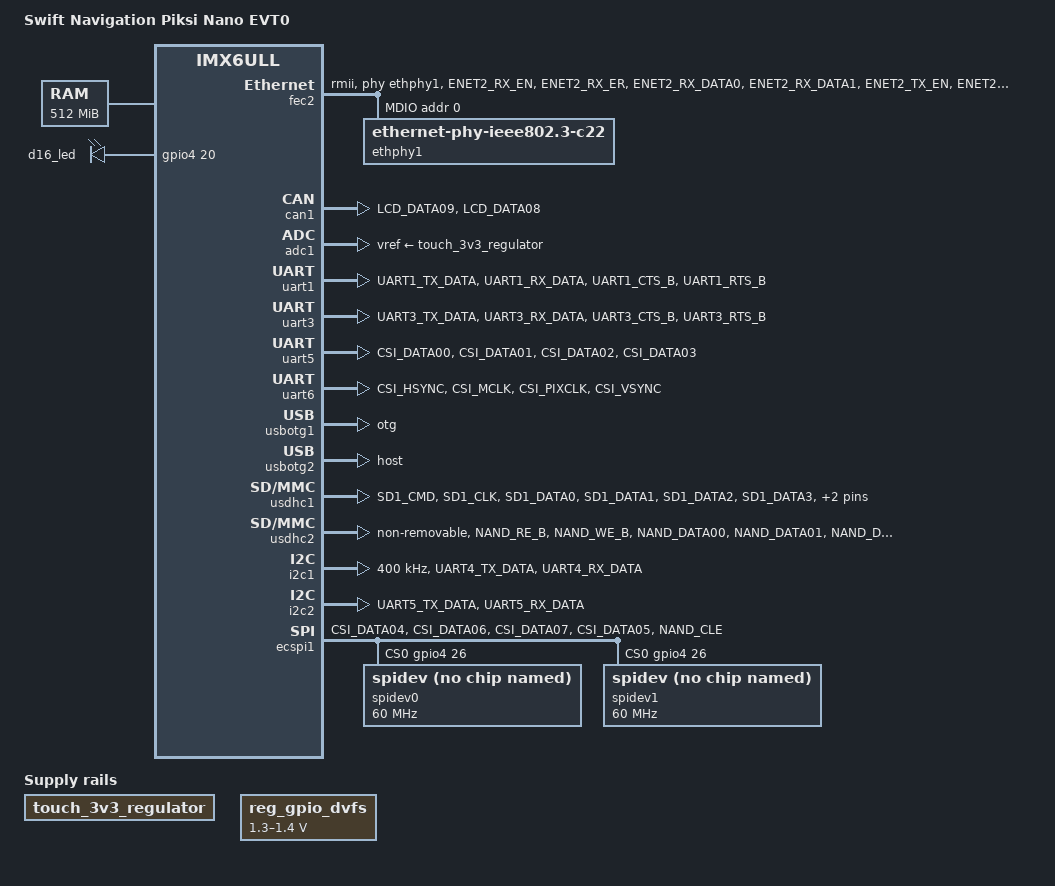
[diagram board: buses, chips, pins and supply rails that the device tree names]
/*
 * Copyright (C) 2018 Swift Navigation
 * Copyright (C) 2015-2016 Variscite Ltd. - http://www.variscite.com
 * Copyright (C) 2015 Freescale Semiconductor, Inc.
 *
 * This program is free software; you can redistribute it and/or modify
 * it under the terms of the GNU General Public License version 2 as
 * published by the Free Software Foundation.
 */

/* SDCARD & eMMC devices enabled NAND & Wi-FI disabled.*/

/dts-v1/;

#include <dt-bindings/input/input.h>
#include "imx6ull.dtsi"

/ {
	model = "Swift Navigation Piksi Nano EVT0";
	compatible = "fsl,imx6ull-var-dart", "fsl,imx6ull";

	chosen {
		stdout-path = &uart1;
	};

	memory {
		reg = <0x80000000 0x20000000>;
	};

	regulators {
		compatible = "simple-bus";
		#address-cells = <1>;
		#size-cells = <0>;

		touch_3v3_regulator: touch_3v3_regulator {
			compatible = "regulator-fixed";
			regulator-name = "touch_3v3_supply";
			regulator-always-on;
			status = "okay";
		};

		reg_gpio_dvfs: regulator-gpio {
			compatible = "regulator-gpio";
			regulator-min-microvolt = <1300000>;
			regulator-max-microvolt = <1400000>;
			regulator-name = "gpio_dvfs";
			regulator-type = "voltage";
			gpios = <&gpio4 13 GPIO_ACTIVE_HIGH>;
			states = <1300000 0x1 1400000 0x0>;
		};
	};

	leds {
		compatible = "gpio-leds";

		d16_led {
			gpios = <&gpio4 20 0>;
			linux,default-trigger = "heartbeat";
		};
	};
};

&cpu0 {
	arm-supply = <&reg_arm>;
	soc-supply = <&reg_soc>;
	dc-supply = <&reg_gpio_dvfs>;
};

&fec2 {
	pinctrl-names = "default";
	pinctrl-0 = <&pinctrl_enet2>;
	phy-mode = "rmii";
	phy-handle = <&ethphy1>;
	phy-reset-gpios=<&gpio3 3 1>;
	phy-reset-duration=<100>;
	phy-reset-on-resume;
	status = "okay";
	mdio {
		#address-cells = <1>;
		#size-cells = <0>;

		ethphy1: ethernet-phy@0 {
			compatible = "ethernet-phy-ieee802.3-c22";
			reg = <0>;
		};
	};
};

&can1 {
	pinctrl-names = "default";
	pinctrl-0 = <&pinctrl_flexcan1>;
	status = "okay";
};

&gpc {
	fsl,cpu_pupscr_sw2iso = <0x2>;
	fsl,cpu_pupscr_sw = <0x1>;
	fsl,cpu_pdnscr_iso2sw = <0x1>;
	fsl,cpu_pdnscr_iso = <0x1>;
	fsl,ldo-bypass = <0>; /* DCDC, ldo-enable */
};

&adc1 {
	vref-supply = <&touch_3v3_regulator>;
	status = "okay";
};

/* Console UART */
&uart1 {
	pinctrl-names = "default";
	pinctrl-0 = <&pinctrl_uart1>;
	fsl,uart-has-rtscts;
	status = "okay";
};

/* ttymxc2 UART */
&uart3 {
	pinctrl-names = "default";
	pinctrl-0 = <&pinctrl_uart3>;
	fsl,uart-has-rtscts;
	status = "okay";
};

/* Goldcrest A */
&uart5 {
	pinctrl-names = "default";
	pinctrl-0 = <&pinctrl_uart5>;
	fsl,uart-has-rtscts;
	status = "okay";
};

/* Goldcrest B */
&uart6 {
	pinctrl-names = "default";
	pinctrl-0 = <&pinctrl_uart6>;
	fsl,uart-has-rtscts;
	status = "okay";
};

&wdog1 {
	pinctrl-names = "default";
	pinctrl-0 = <&pinctrl_wdog>;
	fsl,ext-reset-output;
};

&usbotg1 {
	dr_mode = "otg";
	disable-over-current;
	status = "okay";
};

&usbotg2 {
	dr_mode = "host";
	disable-over-current;
	status = "okay";
};

&usdhc1 {
	pinctrl-names = "default", "state_100mhz", "state_200mhz";
	pinctrl-0 = <&pinctrl_usdhc1>;
	pinctrl-1 = <&pinctrl_usdhc1_100mhz>;
	pinctrl-2 = <&pinctrl_usdhc1_200mhz>;
	no-1-8-v;
	keep-power-in-suspend;
	enable-sdio-wakeup;
	cd-gpios = <&gpio5 3 GPIO_ACTIVE_LOW>;
	status = "okay";
};

&usdhc2 {
	pinctrl-names = "default";
	pinctrl-0 = <&pinctrl_usdhc2>;
	no-1-8-v;
	non-removable;
	keep-power-in-suspend;
	enable-sdio-wakeup;
	status = "okay";
};

&i2c1 {
	clock-frequency = <400000>;
	pinctrl-names = "default";
	pinctrl-0 = <&pinctrl_i2c1>;
	status = "okay";
};

&i2c2 {
	clock_frequency = <100000>;
	pinctrl-names = "default";
	pinctrl-0 = <&pinctrl_i2c2>;
	status = "okay";
};

&iomuxc {
	pinctrl-names = "default";
	pinctrl-0 = <&pinctrl_hog_1>;
	imx6ul-evk {
		pinctrl_hog_1: hoggrp-1 {
			fsl,pins = <
				MX6UL_PAD_GPIO1_IO07__ENET2_MDC		0x1b0b0
				MX6UL_PAD_GPIO1_IO06__ENET2_MDIO	0x1b0b0
			>;
		};

		pinctrl_enet1: enet1grp {
			fsl,pins = <
				MX6UL_PAD_ENET1_RX_EN__ENET1_RX_EN	0x1b0b0
				MX6UL_PAD_ENET1_RX_ER__ENET1_RX_ER	0x1b0b0
				MX6UL_PAD_ENET1_RX_DATA0__ENET1_RDATA00	0x1b0b0
				MX6UL_PAD_ENET1_RX_DATA1__ENET1_RDATA01	0x1b0b0
				MX6UL_PAD_ENET1_TX_EN__ENET1_TX_EN	0x1b0b0
				MX6UL_PAD_ENET1_TX_DATA0__ENET1_TDATA00	0x1b0b0
				MX6UL_PAD_ENET1_TX_DATA1__ENET1_TDATA01	0x1b0b0
				MX6UL_PAD_ENET1_TX_CLK__ENET1_REF_CLK1	0x4001b031
			>;
		};

		pinctrl_enet2: enet2grp {
			fsl,pins = <
				MX6UL_PAD_ENET2_RX_EN__ENET2_RX_EN	0x1b0b0
				MX6UL_PAD_ENET2_RX_ER__ENET2_RX_ER	0x1b0b0
				MX6UL_PAD_ENET2_RX_DATA0__ENET2_RDATA00	0x1b0b0
				MX6UL_PAD_ENET2_RX_DATA1__ENET2_RDATA01	0x1b0b0
				MX6UL_PAD_ENET2_TX_EN__ENET2_TX_EN	0x1b0b0
				MX6UL_PAD_ENET2_TX_DATA0__ENET2_TDATA00	0x1b0b0
				MX6UL_PAD_ENET2_TX_DATA1__ENET2_TDATA01	0x1b0b0
				MX6UL_PAD_ENET2_TX_CLK__ENET2_REF_CLK2	0x4001b031
				MX6UL_PAD_LCD_VSYNC__GPIO3_IO03		0x1b0b0
			>;
		};

		pinctrl_flexcan1: flexcan1grp {
			fsl,pins = <
				MX6UL_PAD_LCD_DATA09__FLEXCAN1_RX	0x1b020
				MX6UL_PAD_LCD_DATA08__FLEXCAN1_TX	0x1b020
			>;
		};

		pinctrl_uart1: uart1grp {
			fsl,pins = <
				MX6UL_PAD_UART1_TX_DATA__UART1_DCE_TX	0x1b0b1
				MX6UL_PAD_UART1_RX_DATA__UART1_DCE_RX	0x1b0b1
				MX6UL_PAD_UART1_CTS_B__UART1_DCE_CTS	0x1b0b1
				MX6UL_PAD_UART1_RTS_B__UART1_DCE_RTS	0x1b0b1
			>;
		};

		pinctrl_uart3: uart3grp {
			fsl,pins = <
				MX6UL_PAD_UART3_TX_DATA__UART3_DCE_TX	0x1b0b1
				MX6UL_PAD_UART3_RX_DATA__UART3_DCE_RX	0x1b0b1
				MX6UL_PAD_UART3_CTS_B__UART3_DCE_CTS	0x1b0b1
				MX6UL_PAD_UART3_RTS_B__UART3_DCE_RTS	0x1b0b1
			>;
		};

    pinctrl_uart5: uart5grp {
			fsl,pins = <
				MX6UL_PAD_CSI_DATA00__UART5_DCE_TX 	0x1b0b1
				MX6UL_PAD_CSI_DATA01__UART5_DCE_RX	0x1b0b1
				MX6UL_PAD_CSI_DATA02__UART5_DCE_RTS	0x1b0b1
				MX6UL_PAD_CSI_DATA03__UART5_DCE_CTS	0x1b0b1
			>;
		};

    pinctrl_uart6: uart6grp {
			fsl,pins = <
				MX6UL_PAD_CSI_HSYNC__UART6_DCE_CTS 	0x1b0b1
				MX6UL_PAD_CSI_MCLK__UART6_DCE_TX		0x1b0b1
				MX6UL_PAD_CSI_PIXCLK__UART6_DCE_RX	0x1b0b1
				MX6UL_PAD_CSI_VSYNC__UART6_DCE_RTS	0x1b0b1
			>;
		};

		pinctrl_usdhc1: usdhc1grp {
			fsl,pins = <
				MX6UL_PAD_SD1_CMD__USDHC1_CMD		0x17059
				MX6UL_PAD_SD1_CLK__USDHC1_CLK		0x17059
				MX6UL_PAD_SD1_DATA0__USDHC1_DATA0	0x17059
				MX6UL_PAD_SD1_DATA1__USDHC1_DATA1	0x17059
				MX6UL_PAD_SD1_DATA2__USDHC1_DATA2	0x17059
				MX6UL_PAD_SD1_DATA3__USDHC1_DATA3	0x17059
				MX6UL_PAD_SNVS_TAMPER3__GPIO5_IO03	0x1b0b1	/* SD card detect */
			>;
		};

		pinctrl_usdhc1_100mhz: usdhc1grp100mhz {
			fsl,pins = <
				MX6UL_PAD_SD1_CMD__USDHC1_CMD		0x170b9
				MX6UL_PAD_SD1_CLK__USDHC1_CLK		0x100b9
				MX6UL_PAD_SD1_DATA0__USDHC1_DATA0	0x170b9
				MX6UL_PAD_SD1_DATA1__USDHC1_DATA1	0x170b9
				MX6UL_PAD_SD1_DATA2__USDHC1_DATA2	0x170b9
				MX6UL_PAD_SD1_DATA3__USDHC1_DATA3	0x170b9
				MX6UL_PAD_SNVS_TAMPER3__GPIO5_IO03	0x1b0b1	/* SD card detect */
			>;
		};

		pinctrl_usdhc1_200mhz: usdhc1grp200mhz {
			fsl,pins = <
				MX6UL_PAD_SD1_CMD__USDHC1_CMD		0x170f9
				MX6UL_PAD_SD1_CLK__USDHC1_CLK		0x100f9
				MX6UL_PAD_SD1_DATA0__USDHC1_DATA0	0x170f9
				MX6UL_PAD_SD1_DATA1__USDHC1_DATA1	0x170f9
				MX6UL_PAD_SD1_DATA2__USDHC1_DATA2	0x170f9
				MX6UL_PAD_SD1_DATA3__USDHC1_DATA3	0x170f9
				MX6UL_PAD_SNVS_TAMPER3__GPIO5_IO03	0x1b0b1	/* SD card detect */
			>;
		};

		pinctrl_usdhc2: usdhc2grp {
			fsl,pins = <
				MX6UL_PAD_NAND_RE_B__USDHC2_CLK		0x17059
				MX6UL_PAD_NAND_WE_B__USDHC2_CMD		0x17059
				MX6UL_PAD_NAND_DATA00__USDHC2_DATA0	0x17059
				MX6UL_PAD_NAND_DATA01__USDHC2_DATA1	0x17059
				MX6UL_PAD_NAND_DATA02__USDHC2_DATA2	0x17059
				MX6UL_PAD_NAND_DATA03__USDHC2_DATA3	0x17059
			>;
		};

		pinctrl_i2c1: i2c1grp {
			fsl,pins = <
				MX6UL_PAD_UART4_TX_DATA__I2C1_SCL	0x4001b8b0
				MX6UL_PAD_UART4_RX_DATA__I2C1_SDA	0x4001b8b0
			>;
		};

		pinctrl_i2c2: i2c2grp {
			fsl,pins = <
				MX6UL_PAD_UART5_TX_DATA__I2C2_SCL	0x4001b8b0
				MX6UL_PAD_UART5_RX_DATA__I2C2_SDA	0x4001b8b0
			>;
		};

		pinctrl_wdog: wdoggrp {
			fsl,pins = <
				MX6UL_PAD_GPIO1_IO08__WDOG1_WDOG_B	0x78b0
			>;
		};

    pinctrl_ecspi1: ecspi1grp {
      fsl,pins = <
        MX6UL_PAD_CSI_DATA04__ECSPI1_SCLK    0x0b0b0 /* CSPI_SCLK */
        MX6UL_PAD_CSI_DATA06__ECSPI1_MOSI    0x0b0b0 /* CSPI_MOSI */
        MX6UL_PAD_CSI_DATA07__ECSPI1_MISO    0x0b0b0 /* CSPI_MISO */
        MX6UL_PAD_CSI_DATA05__ECSPI1_SS0     0x0b0b0 /* CSPI_SS0 */
        MX6UL_PAD_NAND_CLE__GPIO4_IO15       0x0b0b0 /* CSPI_SS1 */
      >;
    };

    pinctrl_ecspi2: ecspi2grp {
      fsl,pins = <
        MX6UL_PAD_CSI_DATA01__ECSPI2_SS0     0x0b0b0 /* CSPI_SS */
        MX6UL_PAD_CSI_DATA02__ECSPI2_MOSI    0x0b0b0 /* CSPI_MOSI */
        MX6UL_PAD_CSI_DATA03__ECSPI2_MISO    0x0b0b0 /* CSPI_MISO */
        MX6UL_PAD_CSI_DATA00__ECSPI2_SCLK    0x0b0b0 /* CSPI_SCLK */
      >;
    };

	};
};

&snvs_rtc {
	status = "disabled";
};

&ecspi1 {  /* IMU and TPM */
    pinctrl-names = "default";
    pinctrl-0 = <&pinctrl_ecspi1>;
    cs-gpios = <
        &gpio4 26 GPIO_ACTIVE_HIGH
        &gpio4 15 GPIO_ACTIVE_HIGH
    >;
	status = "okay";

    spidev0: spi@0 { /* IMU */
        compatible = "spidev";
        reg = <0>;
        spi-max-frequency = <60000000>;
    };
    spidev1: spi@1 { /* TPM */
        compatible = "spidev";
        reg = <0>;
        spi-max-frequency = <60000000>;
    };
};

/* Goldcrest A, SPI mode */
/*
&ecspi2 {
    pinctrl-names = "default";
    pinctrl-0 = <&pinctrl_ecspi2>;
    cs-gpios = <
        &gpio4 22 GPIO_ACTIVE_HIGH
    >;
	status = "okay";

    spidev2: spi@0 {
        compatible = "spidev";
        reg = <0>;
        spi-max-frequency = <60000000>;
    };
};
*/
